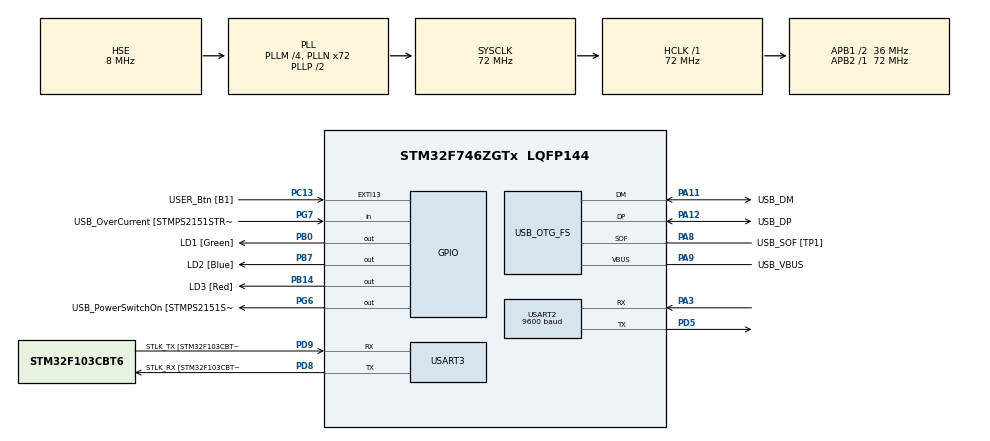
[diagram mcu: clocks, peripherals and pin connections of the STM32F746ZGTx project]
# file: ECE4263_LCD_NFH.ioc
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Mcu.Family=STM32F7
Mcu.Name=STM32F746ZGTx
Mcu.Package=LQFP144
NVIC.PriorityGroup=NVIC_PRIORITYGROUP_4
PA1.GPIO_Label=RMII_REF_CLK [LAN8742A-CZ-TR_REFCLK0]
PA1.Signal=ETH_REF_CLK
PA10.GPIO_Label=USB_ID
PA10.Signal=USB_OTG_FS_ID
PA11.GPIO_Label=USB_DM
PA11.Mode=Device_Only
PA11.Signal=USB_OTG_FS_DM
PA12.GPIO_Label=USB_DP
PA12.Mode=Device_Only
PA12.Signal=USB_OTG_FS_DP
PA13.GPIO_Label=TMS
PA13.Mode=Serial_Wire
PA13.Signal=SYS_JTMS-SWDIO
PA14.GPIO_Label=TCK
PA14.Mode=Serial_Wire
PA14.Signal=SYS_JTCK-SWCLK
PA2.GPIO_Label=RMII_MDIO [LAN8742A-CZ-TR_MDIO]
PA2.Signal=ETH_MDIO
PA3.Mode=Asynchronous
PA3.Signal=USART2_RX
PA7.GPIO_Label=RMII_CRS_DV [LAN8742A-CZ-TR_CRS_DV]
PA7.Signal=ETH_CRS_DV
PA8.GPIO_Label=USB_SOF [TP1]
PA8.Mode=Activate_SOF_FS
PA8.Signal=USB_OTG_FS_SOF
PA9.GPIO_Label=USB_VBUS
PA9.Mode=Activate_VBUS
PA9.Signal=USB_OTG_FS_VBUS
PB0.GPIO_Label=LD1 [Green]
PB0.Signal=GPIO_Output
PB13.GPIO_Label=RMII_TXD1 [LAN8742A-CZ-TR_TXD1]
PB13.Signal=ETH_TXD1
PB14.GPIO_Label=LD3 [Red]
PB14.Signal=GPIO_Output
PB3.GPIO_Label=SW0
PB3.Signal=SYS_JTDO-SWO
PB7.GPIO_Label=LD2 [Blue]
PB7.Signal=GPIO_Output
PC1.GPIO_Label=RMII_MDC [LAN8742A-CZ-TR_MDC]
PC1.Signal=ETH_MDC
PC13.GPIO_Label=USER_Btn [B1]
PC13.Signal=GPXTI13
PC14/OSC32_IN.Mode=LSE-External-Oscillator
PC14/OSC32_IN.Signal=RCC_OSC32_IN
PC15/OSC32_OUT.Mode=LSE-External-Oscillator
PC15/OSC32_OUT.Signal=RCC_OSC32_OUT
PC4.GPIO_Label=RMII_RXD0 [LAN8742A-CZ-TR_RXD0]
PC4.Signal=ETH_RXD0
PC5.GPIO_Label=RMII_RXD1 [LAN8742A-CZ-TR_RXD1]
PC5.Signal=ETH_RXD1
PD5.Mode=Asynchronous
PD5.Signal=USART2_TX
PD8.GPIO_Label=STLK_RX [STM32F103CBT6_PA3]
PD8.Mode=Asynchronous
PD8.Signal=USART3_TX
PD9.GPIO_Label=STLK_TX [STM32F103CBT6_PA2]
PD9.Mode=Asynchronous
PD9.Signal=USART3_RX
PG11.GPIO_Label=RMII_TX_EN [LAN8742A-CZ-TR_TXEN]
PG11.Signal=ETH_TX_EN
PG13.GPIO_Label=RMII_TXD0 [LAN8742A-CZ-TR_TXD0]
PG13.Signal=ETH_TXD0
PG6.GPIO_Label=USB_PowerSwitchOn [STMPS2151STR_EN]
PG6.Signal=GPIO_Output
PG7.GPIO_Label=USB_OverCurrent [STMPS2151STR_FAULT]
PG7.Signal=GPIO_Input
PH0/OSC_IN.GPIO_Label=MCO [STM32F103CBT6_PA8]
PH0/OSC_IN.Mode=HSE-External-Clock-Source
PH0/OSC_IN.Signal=RCC_OSC_IN
PH1/OSC_OUT.Mode=HSE-External-Clock-Source
PH1/OSC_OUT.Signal=RCC_OSC_OUT
ProjectManager.HeapSize=0x200
ProjectManager.StackSize=0x400
ProjectManager.TargetToolchain=STM32CubeIDE
RCC.48MHZClocksFreq_Value=24000000
RCC.AHBFreq_Value=72000000
RCC.APB1CLKDivider=RCC_HCLK_DIV2
RCC.APB1Freq_Value=36000000
RCC.APB1TimFreq_Value=72000000
RCC.APB2Freq_Value=72000000
RCC.APB2TimFreq_Value=72000000
RCC.CortexFreq_Value=72000000
RCC.HCLKFreq_Value=72000000
RCC.HSE_VALUE=8000000
RCC.HSI_VALUE=16000000
RCC.PLLM=4
RCC.PLLMUL=RCC_PLL_MUL9
RCC.PLLN=72
RCC.PLLQ=3
RCC.PRESCALERUSB=RCC_USBCLKSOURCE_PLL_DIV1_5
RCC.SYSCLKFreq_VALUE=72000000
RCC.SYSCLKSource=RCC_SYSCLKSOURCE_PLLCLK
RCC.SYSCLKSourceVirtual=RCC_SYSCLKSOURCE_PLLCLK
RCC.USBFreq_Value=48000000
RCC.VCOOutputFreq_Value=144000000
USART2.BaudRate=9600
USART2.VirtualMode-Asynchronous=VM_ASYNC
USART3.VirtualMode-Asynchronous=VM_ASYNC
USB_OTG_FS.VirtualMode=Device_Only
board=NUCLEO-F746ZG

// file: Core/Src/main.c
/* USER CODE BEGIN Header */
/**
  ******************************************************************************
  * @file           : main.c
  * @brief          : Main program body
  ******************************************************************************
  * @attention
  *
  * <h2><center>&copy; Copyright (c) 2021 STMicroelectronics.
  * All rights reserved.</center></h2>
  *
  * This software component is licensed by ST under BSD 3-Clause license,
  * the "License"; You may not use this file except in compliance with the
  * License. You may obtain a copy of the License at:
  *                        opensource.org/licenses/BSD-3-Clause
  *
  ******************************************************************************
  */
/* USER CODE END Header */
#include "main.h"

/* USER CODE BEGIN Includes */
#include "string.h"
#include "stdlib.h"
#include "stdbool.h"
#include "stdio.h"
#include "memory.h"
#include "stdint.h"
#include "stm32f7xx_hal.h"
#include "stm32f7xx_hal_exti.h"
#include "stm32f7xx_hal_flash_ex.h"
#include "stm32f7xx_hal_flash.h"
#include "stm32f7xx_hal_gpio.h"

#include "f746_lcd.h"
/* USER CODE END Includes */

UART_HandleTypeDef huart2;
UART_HandleTypeDef huart3;

PCD_HandleTypeDef hpcd_USB_OTG_FS;

/* USER CODE BEGIN PV */
volatile uint8_t screenState;
/* USER CODE END PV */

void SystemClock_Config(void);
static void MX_GPIO_Init(void);
static void MX_USART3_UART_Init(void);
static void MX_USB_OTG_FS_PCD_Init(void);
static void MX_USART2_UART_Init(void);
/* USER CODE BEGIN PFP */
//void screenClear(huart2);
/* USER CODE END PFP */

int main(void)
{

  /* MCU Configuration--------------------------------------------------------*/

  /* Reset of all peripherals, Initializes the Flash interface and the Systick. */
  HAL_Init();

  /* Configure the system clock */
  SystemClock_Config();

  /* Initialize all configured peripherals */
  MX_GPIO_Init();
  MX_USART3_UART_Init();
  MX_USB_OTG_FS_PCD_Init();
  MX_USART2_UART_Init();
  /* USER CODE BEGIN 2 */
  char Message[]="Counter: ";
  char newLine[]="\r\n";

  uint8_t clearInstruction[]={0x7C, 0x2D};

  HAL_UART_Transmit(&huart2, (uint8_t *) clearInstruction, sizeof(clearInstruction), HAL_MAX_DELAY);

  uint8_t inc = 0;

  /* USER CODE END 2 */

  /* Infinite loop */
  /* USER CODE BEGIN WHILE */
  while (1)
  {
	char print[3];
	itoa(inc,print,10);

	printLCD(huart2, Message);
	printLCD(huart2, print);
	printLCD(huart2, newLine);

	//HAL_UART_Transmit(&huart2, (uint8_t *) Message, strlen(Message), HAL_MAX_DELAY);
	//HAL_UART_Transmit(&huart2, (uint8_t *) print, strlen(print), HAL_MAX_DELAY);
	//HAL_UART_Transmit(&huart2, (uint8_t *) newLine, strlen(newLine), HAL_MAX_DELAY);
	HAL_Delay(1000);

	if(screenState == 1 || inc == 255){
		screenClear(huart2);
		screenState = 0;
	}

	inc++;
    /* USER CODE END WHILE */

  }
}

void SystemClock_Config(void)
{
  RCC_OscInitTypeDef RCC_OscInitStruct = {0};
  RCC_ClkInitTypeDef RCC_ClkInitStruct = {0};
  RCC_PeriphCLKInitTypeDef PeriphClkInitStruct = {0};

  /** Configure LSE Drive Capability
  */
  HAL_PWR_EnableBkUpAccess();
  /** Configure the main internal regulator output voltage
  */
  __HAL_RCC_PWR_CLK_ENABLE();
  __HAL_PWR_VOLTAGESCALING_CONFIG(PWR_REGULATOR_VOLTAGE_SCALE3);
  /** Initializes the RCC Oscillators according to the specified parameters
  * in the RCC_OscInitTypeDef structure.
  */
  RCC_OscInitStruct.OscillatorType = RCC_OSCILLATORTYPE_HSE;
  RCC_OscInitStruct.HSEState = RCC_HSE_BYPASS;
  RCC_OscInitStruct.PLL.PLLState = RCC_PLL_ON;
  RCC_OscInitStruct.PLL.PLLSource = RCC_PLLSOURCE_HSE;
  RCC_OscInitStruct.PLL.PLLM = 4;
  RCC_OscInitStruct.PLL.PLLN = 72;
  RCC_OscInitStruct.PLL.PLLP = RCC_PLLP_DIV2;
  RCC_OscInitStruct.PLL.PLLQ = 3;
  if (HAL_RCC_OscConfig(&RCC_OscInitStruct) != HAL_OK)
  {
    Error_Handler();
  }
  /** Initializes the CPU, AHB and APB buses clocks
  */
  RCC_ClkInitStruct.ClockType = RCC_CLOCKTYPE_HCLK|RCC_CLOCKTYPE_SYSCLK
                              |RCC_CLOCKTYPE_PCLK1|RCC_CLOCKTYPE_PCLK2;
  RCC_ClkInitStruct.SYSCLKSource = RCC_SYSCLKSOURCE_PLLCLK;
  RCC_ClkInitStruct.AHBCLKDivider = RCC_SYSCLK_DIV1;
  RCC_ClkInitStruct.APB1CLKDivider = RCC_HCLK_DIV2;
  RCC_ClkInitStruct.APB2CLKDivider = RCC_HCLK_DIV1;

  if (HAL_RCC_ClockConfig(&RCC_ClkInitStruct, FLASH_LATENCY_2) != HAL_OK)
  {
    Error_Handler();
  }
  PeriphClkInitStruct.PeriphClockSelection = RCC_PERIPHCLK_USART2|RCC_PERIPHCLK_USART3
                              |RCC_PERIPHCLK_CLK48;
  PeriphClkInitStruct.Usart2ClockSelection = RCC_USART2CLKSOURCE_PCLK1;
  PeriphClkInitStruct.Usart3ClockSelection = RCC_USART3CLKSOURCE_PCLK1;
  PeriphClkInitStruct.Clk48ClockSelection = RCC_CLK48SOURCE_PLL;
  if (HAL_RCCEx_PeriphCLKConfig(&PeriphClkInitStruct) != HAL_OK)
  {
    Error_Handler();
  }
}

static void MX_USART2_UART_Init(void)
{

  huart2.Instance = USART2;
  huart2.Init.BaudRate = 9600;
  huart2.Init.WordLength = UART_WORDLENGTH_8B;
  huart2.Init.StopBits = UART_STOPBITS_1;
  huart2.Init.Parity = UART_PARITY_NONE;
  huart2.Init.Mode = UART_MODE_TX_RX;
  huart2.Init.HwFlowCtl = UART_HWCONTROL_NONE;
  huart2.Init.OverSampling = UART_OVERSAMPLING_16;
  huart2.Init.OneBitSampling = UART_ONE_BIT_SAMPLE_DISABLE;
  huart2.AdvancedInit.AdvFeatureInit = UART_ADVFEATURE_NO_INIT;
  if (HAL_UART_Init(&huart2) != HAL_OK)
  {
    Error_Handler();
  }

}

static void MX_USART3_UART_Init(void)
{

  huart3.Instance = USART3;
  huart3.Init.BaudRate = 115200;
  huart3.Init.WordLength = UART_WORDLENGTH_8B;
  huart3.Init.StopBits = UART_STOPBITS_1;
  huart3.Init.Parity = UART_PARITY_NONE;
  huart3.Init.Mode = UART_MODE_TX_RX;
  huart3.Init.HwFlowCtl = UART_HWCONTROL_NONE;
  huart3.Init.OverSampling = UART_OVERSAMPLING_16;
  huart3.Init.OneBitSampling = UART_ONE_BIT_SAMPLE_DISABLE;
  huart3.AdvancedInit.AdvFeatureInit = UART_ADVFEATURE_NO_INIT;
  if (HAL_UART_Init(&huart3) != HAL_OK)
  {
    Error_Handler();
  }

}

static void MX_USB_OTG_FS_PCD_Init(void)
{

  hpcd_USB_OTG_FS.Instance = USB_OTG_FS;
  hpcd_USB_OTG_FS.Init.dev_endpoints = 6;
  hpcd_USB_OTG_FS.Init.speed = PCD_SPEED_FULL;
  hpcd_USB_OTG_FS.Init.dma_enable = DISABLE;
  hpcd_USB_OTG_FS.Init.phy_itface = PCD_PHY_EMBEDDED;
  hpcd_USB_OTG_FS.Init.Sof_enable = ENABLE;
  hpcd_USB_OTG_FS.Init.low_power_enable = DISABLE;
  hpcd_USB_OTG_FS.Init.lpm_enable = DISABLE;
  hpcd_USB_OTG_FS.Init.vbus_sensing_enable = ENABLE;
  hpcd_USB_OTG_FS.Init.use_dedicated_ep1 = DISABLE;
  if (HAL_PCD_Init(&hpcd_USB_OTG_FS) != HAL_OK)
  {
    Error_Handler();
  }

}

static void MX_GPIO_Init(void)
{
  GPIO_InitTypeDef GPIO_InitStruct = {0};

  /* GPIO Ports Clock Enable */
  __HAL_RCC_GPIOC_CLK_ENABLE();
  __HAL_RCC_GPIOH_CLK_ENABLE();
  __HAL_RCC_GPIOA_CLK_ENABLE();
  __HAL_RCC_GPIOB_CLK_ENABLE();
  __HAL_RCC_GPIOD_CLK_ENABLE();
  __HAL_RCC_GPIOG_CLK_ENABLE();

  /*Configure GPIO pin Output Level */
  HAL_GPIO_WritePin(GPIOB, LD1_Pin|LD3_Pin|LD2_Pin, GPIO_PIN_RESET);

  /*Configure GPIO pin Output Level */
  HAL_GPIO_WritePin(USB_PowerSwitchOn_GPIO_Port, USB_PowerSwitchOn_Pin, GPIO_PIN_RESET);

  /*Configure GPIO pin : USER_Btn_Pin */
  GPIO_InitStruct.Pin = USER_Btn_Pin;
  GPIO_InitStruct.Mode = GPIO_MODE_IT_RISING;
  GPIO_InitStruct.Pull = GPIO_NOPULL;
  HAL_GPIO_Init(USER_Btn_GPIO_Port, &GPIO_InitStruct);

  /*Configure GPIO pins : RMII_MDC_Pin RMII_RXD0_Pin RMII_RXD1_Pin */
  GPIO_InitStruct.Pin = RMII_MDC_Pin|RMII_RXD0_Pin|RMII_RXD1_Pin;
  GPIO_InitStruct.Mode = GPIO_MODE_AF_PP;
  GPIO_InitStruct.Pull = GPIO_NOPULL;
  GPIO_InitStruct.Speed = GPIO_SPEED_FREQ_VERY_HIGH;
  GPIO_InitStruct.Alternate = GPIO_AF11_ETH;
  HAL_GPIO_Init(GPIOC, &GPIO_InitStruct);

  /*Configure GPIO pins : RMII_REF_CLK_Pin RMII_MDIO_Pin RMII_CRS_DV_Pin */
  GPIO_InitStruct.Pin = RMII_REF_CLK_Pin|RMII_MDIO_Pin|RMII_CRS_DV_Pin;
  GPIO_InitStruct.Mode = GPIO_MODE_AF_PP;
  GPIO_InitStruct.Pull = GPIO_NOPULL;
  GPIO_InitStruct.Speed = GPIO_SPEED_FREQ_VERY_HIGH;
  GPIO_InitStruct.Alternate = GPIO_AF11_ETH;
  HAL_GPIO_Init(GPIOA, &GPIO_InitStruct);

  /*Configure GPIO pins : LD1_Pin LD3_Pin LD2_Pin */
  GPIO_InitStruct.Pin = LD1_Pin|LD3_Pin|LD2_Pin;
  GPIO_InitStruct.Mode = GPIO_MODE_OUTPUT_PP;
  GPIO_InitStruct.Pull = GPIO_NOPULL;
  GPIO_InitStruct.Speed = GPIO_SPEED_FREQ_LOW;
  HAL_GPIO_Init(GPIOB, &GPIO_InitStruct);

  /*Configure GPIO pin : RMII_TXD1_Pin */
  GPIO_InitStruct.Pin = RMII_TXD1_Pin;
  GPIO_InitStruct.Mode = GPIO_MODE_AF_PP;
  GPIO_InitStruct.Pull = GPIO_NOPULL;
  GPIO_InitStruct.Speed = GPIO_SPEED_FREQ_VERY_HIGH;
  GPIO_InitStruct.Alternate = GPIO_AF11_ETH;
  HAL_GPIO_Init(RMII_TXD1_GPIO_Port, &GPIO_InitStruct);

  /*Configure GPIO pin : USB_PowerSwitchOn_Pin */
  GPIO_InitStruct.Pin = USB_PowerSwitchOn_Pin;
  GPIO_InitStruct.Mode = GPIO_MODE_OUTPUT_PP;
  GPIO_InitStruct.Pull = GPIO_NOPULL;
  GPIO_InitStruct.Speed = GPIO_SPEED_FREQ_LOW;
  HAL_GPIO_Init(USB_PowerSwitchOn_GPIO_Port, &GPIO_InitStruct);

  /*Configure GPIO pin : USB_OverCurrent_Pin */
  GPIO_InitStruct.Pin = USB_OverCurrent_Pin;
  GPIO_InitStruct.Mode = GPIO_MODE_INPUT;
  GPIO_InitStruct.Pull = GPIO_NOPULL;
  HAL_GPIO_Init(USB_OverCurrent_GPIO_Port, &GPIO_InitStruct);

  /*Configure GPIO pins : RMII_TX_EN_Pin RMII_TXD0_Pin */
  GPIO_InitStruct.Pin = RMII_TX_EN_Pin|RMII_TXD0_Pin;
  GPIO_InitStruct.Mode = GPIO_MODE_AF_PP;
  GPIO_InitStruct.Pull = GPIO_NOPULL;
  GPIO_InitStruct.Speed = GPIO_SPEED_FREQ_VERY_HIGH;
  GPIO_InitStruct.Alternate = GPIO_AF11_ETH;
  HAL_GPIO_Init(GPIOG, &GPIO_InitStruct);

}

/* USER CODE BEGIN 4 */
//void screenClear(void){
//	uint8_t clearInstruction[]={0x7C, 0x2D};
//	HAL_UART_Transmit(&huart2, (uint8_t *) clearInstruction, sizeof(clearInstruction), HAL_MAX_DELAY);
//
//}
/* USER CODE END 4 */

void Error_Handler(void)
{
  __disable_irq();
  while (1)
  {
  }
}

/************************ (C) COPYRIGHT STMicroelectronics *****END OF FILE****/
